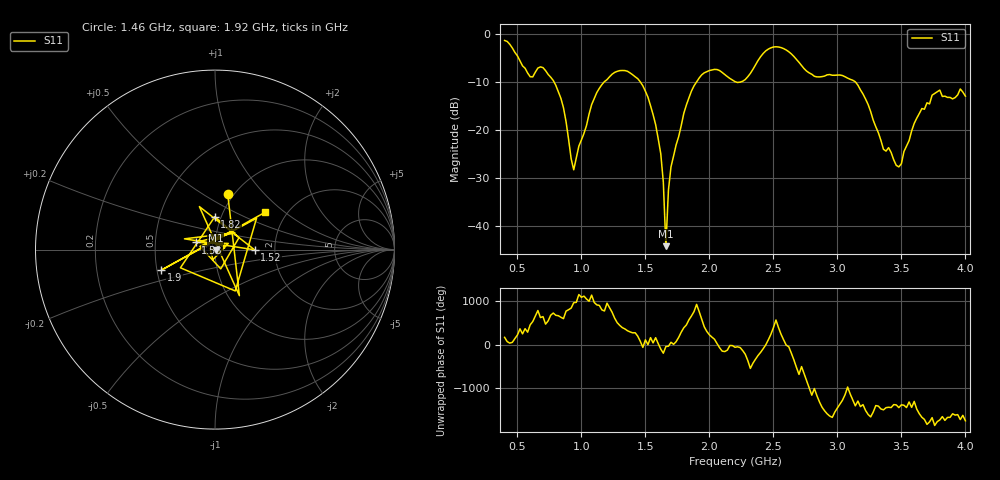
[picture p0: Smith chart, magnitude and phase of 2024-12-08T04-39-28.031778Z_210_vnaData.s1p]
!Created with skrf (http://scikit-rf.org).
# Hz S RI R 50.0
!freq ReS11 ImS11
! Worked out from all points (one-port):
!   181 points, 400 MHz to 4 GHz, reference 50 ohm
!   lowest |S11| = -44.2 dB at 1.66 GHz (marker M1), VSWR 1.01, Z = 50.5 - j0.418 ohm
!   |S11| at or under -10 dB: 787.5 MHz to 1.176 GHz (388.1 MHz wide, 39.5 % of centre); 1.462 GHz to 1.898 GHz (435.6 MHz wide, 25.9 % of centre); 3.143 GHz to end of sweep (the widest 3 of 4)
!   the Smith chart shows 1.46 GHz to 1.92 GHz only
!   S11 on the Smith chart (normalised r, x): 1.46 GHz: 0.93, +0.65; 1.52 GHz: 1.57, -0.01; 1.58 GHz: 0.80, +0.07; 1.82 GHz: 0.93, +0.35; 1.9 GHz: 0.53, -0.13; 1.92 GHz: 1.56, +0.75
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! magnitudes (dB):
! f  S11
! 400 MHz  -1.3
! 600 MHz  -8.9
! 700 MHz  -6.9
! 860 MHz  -15.3
! 940 MHz  -28.2
! 1.12 GHz  -12.2
! 1.3 GHz  -7.6
! 1.46 GHz  -9.9
! 1.52 GHz  -13.1
! 1.58 GHz  -18.8
! 1.64 GHz  -30.8
! 1.66 GHz  -44.2
! 1.68 GHz  -32.5
! 1.7 GHz  -27.6
! 1.76 GHz  -21.3
! 1.82 GHz  -14.7
! 1.9 GHz  -9.9
! 1.92 GHz  -9.1
! 2.06 GHz  -7.4
! 2.2 GHz  -9.9
! 2.48 GHz  -2.8
! 2.66 GHz  -4.6
! 2.82 GHz  -8.8
! 3.1 GHz  -9.4
! 3.46 GHz  -27.3
! 3.56 GHz  -22.2
! 3.74 GHz  -12.7
! 4 GHz  -12.9
